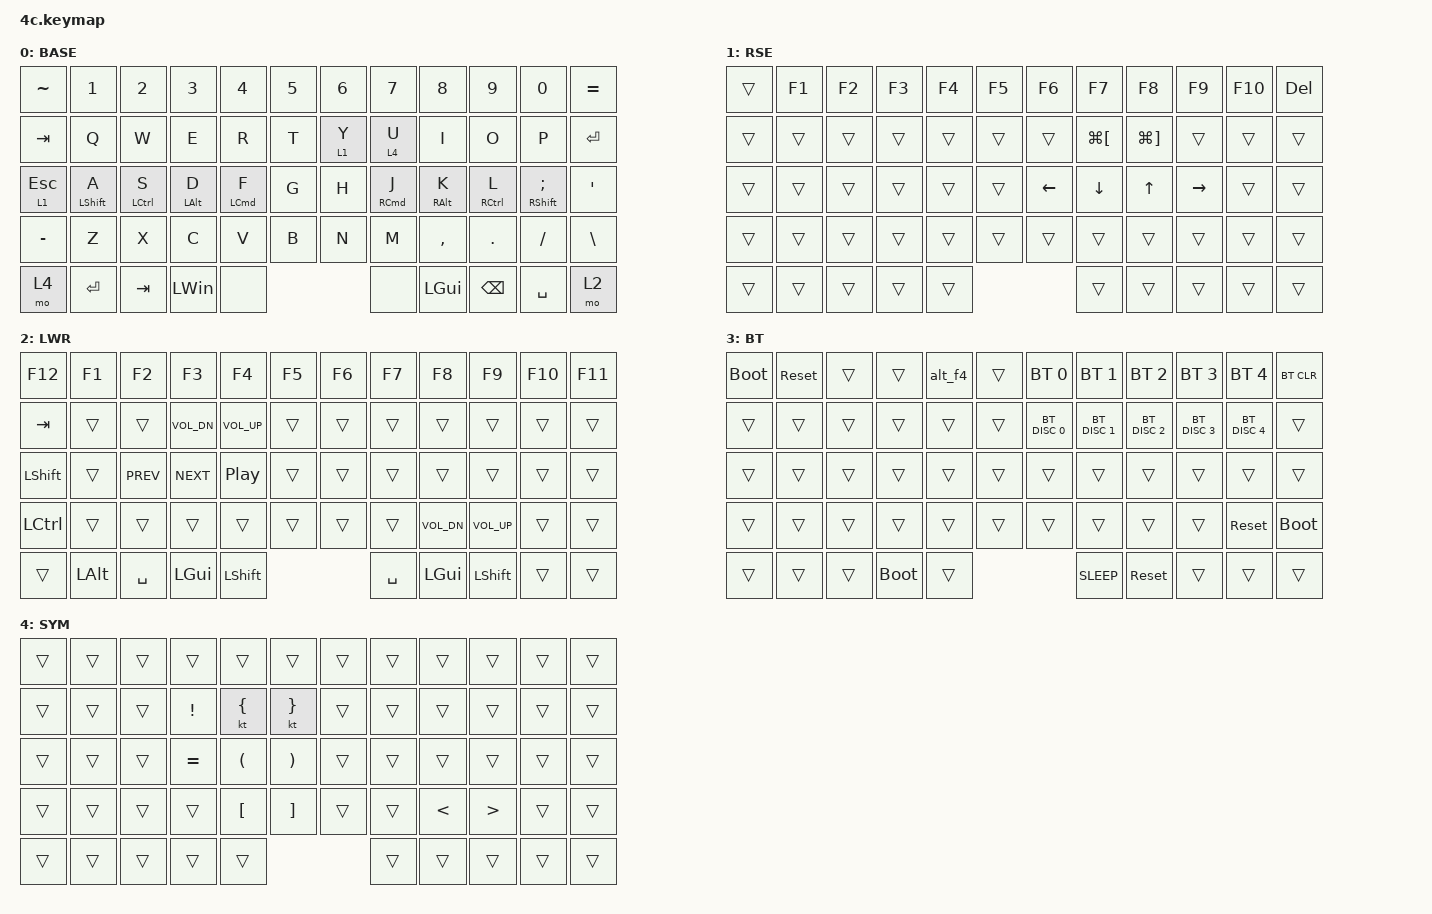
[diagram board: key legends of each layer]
/*
 * Copyright (c) 2020 The ZMK Contributors
 *
 * SPDX-License-Identifier: MIT
 */
/* THIS FILE WAS GENERATED!
 *
 * This file was generated automatically. You may or may not want to
 * edit it directly.
 */

#include <behaviors.dtsi>
#include <dt-bindings/zmk/bt.h>
#include <dt-bindings/zmk/keys.h>
#include <dt-bindings/zmk/keys.h>

/ {
    combos {
        compatible = "zmk,combos";

        btMo {
            bindings = <&mo 3>;
            key-positions = <56 57>;
        };

        wordcao {
            bindings = <&caps_word>;
            key-positions = <52 53>;
        };
    };

    macros {
        codeFence: codeFence {
            compatible = "zmk,behavior-macro";
            label = "new_macro";
            #binding-cells = <0>;
            bindings =
                <&kp GRAVE &kp GRAVE &kp GRAVE &kp RET &kp RET &kp GRAVE &kp GRAVE &kp GRAVE &kp UP>,
                <&macro_press>;
        };

        alt_f4: alt_f4 {
            compatible = "zmk,behavior-macro";
            label = "ALT_F4";
            #binding-cells = <0>;
            bindings = <&kp LALT &kp F4>;
        };
    };

    keymap {
        compatible = "zmk,keymap";

        BASE {
            bindings = <
&kp TILDE  &kp NUMBER_1  &kp NUMBER_2  &kp NUMBER_3  &kp NUMBER_4        &kp NUMBER_5    &kp NUMBER_6  &kp NUMBER_7  &kp NUMBER_8  &kp NUMBER_9   &kp NUMBER_0    &kp EQUAL
&kp TAB    &kp Q         &kp W         &kp E         &kp R               &kp T           &lt 1 Y       &lt 4 U       &kp I         &kp O          &kp P           &kp ENTER
&lt 1 ESC  &mt LSHIFT A  &mt LCTRL S   &mt LALT D    &mt LEFT_COMMAND F  &kp G           &kp H         &mt RCMD J    &mt RALT K    &mt RCTRL L    &mt RSHFT SEMI  &kp APOS
&kp MINUS  &kp Z         &kp X         &kp C         &kp V               &kp B           &kp N         &kp M         &kp COMMA     &kp PERIOD     &kp SLASH       &kp BSLH
&mo 4      &kp ENTER     &kp TAB       &kp LEFT_WIN  &none                                             &none         &kp LEFT_GUI  &kp BACKSPACE  &kp SPACE       &mo 2
            >;
        };

        RSE {
            bindings = <
&trans  &kp F1  &kp F2  &kp F3  &kp F4  &kp F5    &kp F6    &kp F7                &kp F8                 &kp F9     &kp F10  &kp DELETE
&trans  &trans  &trans  &trans  &trans  &trans    &trans    &kp LG(LEFT_BRACKET)  &kp LG(RIGHT_BRACKET)  &trans     &trans   &trans
&trans  &trans  &trans  &trans  &trans  &trans    &kp LEFT  &kp DOWN              &kp UP                 &kp RIGHT  &trans   &trans
&trans  &trans  &trans  &trans  &trans  &trans    &trans    &trans                &trans                 &trans     &trans   &trans
&trans  &trans  &trans  &trans  &trans                      &trans                &trans                 &trans     &trans   &trans
            >;
        };

        LWR {
            bindings = <
&kp F12         &kp F1        &kp F2      &kp F3        &kp F4            &kp F5    &kp F6  &kp F7     &kp F8        &kp F9          &kp F10  &kp F11
&kp TAB         &trans        &trans      &kp C_VOL_DN  &kp C_VOL_UP      &trans    &trans  &trans     &trans        &trans          &trans   &trans
&kp LEFT_SHIFT  &trans        &kp C_PREV  &kp C_NEXT    &kp C_PLAY_PAUSE  &trans    &trans  &trans     &trans        &trans          &trans   &trans
&kp LCTRL       &trans        &trans      &trans        &trans            &trans    &trans  &trans     &kp C_VOL_DN  &kp C_VOL_UP    &trans   &trans
&trans          &kp LEFT_ALT  &kp SPACE   &kp LEFT_GUI  &kp LEFT_SHIFT                      &kp SPACE  &kp LEFT_GUI  &kp LEFT_SHIFT  &trans   &trans
            >;
        };

        BT {
            bindings = <
&bootloader  &sys_reset  &trans  &trans       &alt_f4  &trans    &bt BT_SEL 0   &bt BT_SEL 1   &bt BT_SEL 2   &bt BT_SEL 3   &bt BT_SEL 4   &bt BT_CLR
&trans       &trans      &trans  &trans       &trans   &trans    &bt BT_DISC 0  &bt BT_DISC 1  &bt BT_DISC 2  &bt BT_DISC 3  &bt BT_DISC 4  &trans
&trans       &trans      &trans  &trans       &trans   &trans    &trans         &trans         &trans         &trans         &trans         &trans
&trans       &trans      &trans  &trans       &trans   &trans    &trans         &trans         &trans         &trans         &sys_reset     &bootloader
&trans       &trans      &trans  &bootloader  &trans                            &kp K_SLEEP    &sys_reset     &trans         &trans         &trans
            >;
        };

        SYM {
            bindings = <
&trans  &trans  &trans  &trans           &trans                &trans                   &trans  &trans  &trans         &trans            &trans  &trans
&trans  &trans  &trans  &kp EXCLAMATION  &kt LEFT_BRACE        &kt RIGHT_BRACE          &trans  &trans  &trans         &trans            &trans  &trans
&trans  &trans  &trans  &kp EQUAL        &kp LEFT_PARENTHESIS  &kp RIGHT_PARENTHESIS    &trans  &trans  &trans         &trans            &trans  &trans
&trans  &trans  &trans  &trans           &kp LBKT              &kp RBKT                 &trans  &trans  &kp LESS_THAN  &kp GREATER_THAN  &trans  &trans
&trans  &trans  &trans  &trans           &trans                                                 &trans  &trans         &trans            &trans  &trans
            >;
        };
    };
};
